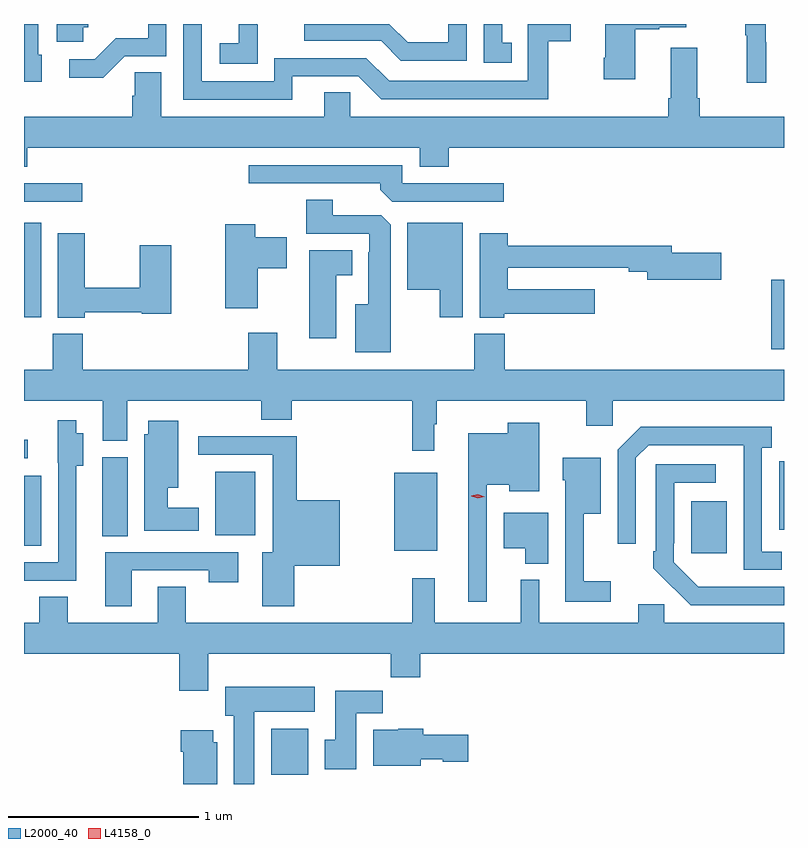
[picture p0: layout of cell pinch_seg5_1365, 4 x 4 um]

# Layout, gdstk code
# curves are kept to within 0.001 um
import gdstk
lib = gdstk.Library(unit=1e-6, precision=1e-09)
def R(c, l, rs):  # rectangles x0, y0, x1, y1
    for r in rs: c.add(gdstk.rectangle(r[:2], r[2:], *l))
def P(c, l, *ps):  # polygons
    for p in ps: c.add(gdstk.Polygon(p, *l))
L2000_40 = (2000, 40)
L4158_0 = (4158, 0)

pinch_seg5_1365 = lib.new_cell('pinch_seg5_1365')
R(pinch_seg5_1365, L2000_40, [(134.282,896.084,134.479,896.326), (136.493,897.249,136.681,897.523), (134.93,897.263,135.157,897.673), (132.982,897.288,133.072,897.657), (133.394,897.34,133.528,897.756), (133.988,897.344,134.2,897.679), (132.982,897.75,133.003,897.847), (136.916,898.323,136.982,898.69), (132.982,898.491,133.072,898.99), (132.982,899.1,133.288,899.196)])
P(pinch_seg5_1365, L2000_40, [(133.512,899.865),(133.731,899.865),(133.731,900.035),(133.635,900.035),(133.635,899.961),(133.466,899.961),(133.355,899.85),(133.221,899.85),(133.221,899.753),(133.399,899.753)],
  [(136.889,899.939),(136.887,899.939),(136.887,900.035),(136.779,900.035),(136.779,899.976),(136.786,899.976),(136.786,899.727),(136.889,899.727)],
  [(136.198,900.007),(136.325,900.007),(136.325,900.017),(136.468,900.017),(136.468,900.035),(136.04,900.035),(136.04,899.857),(136.033,899.857),(136.033,899.745),(136.198,899.745)],
  [(135.312,900.035),(135.216,900.035),(135.216,899.938),(135.002,899.938),(134.905,900.035),(134.458,900.035),(134.458,899.946),(134.861,899.946),(134.966,899.841),(135.312,899.841)],
  [(134.395,899.76),(134.742,899.76),(134.862,899.64),(135.742,899.64),(135.742,899.943),(135.86,899.943),(135.86,900.035),(135.633,900.035),(135.633,899.736),(134.904,899.736),(134.784,899.856),(134.298,899.856),(134.298,899.733),(133.917,899.733),(133.917,900.035),(133.821,900.035),(133.821,899.637),(134.395,899.637)],
  [(133.075,899.874),(133.056,899.874),(133.056,900.035),(132.982,900.035),(132.982,899.73),(133.075,899.73)],
  [(133.293,900.018),(133.32,900.018),(133.32,900.035),(133.154,900.035),(133.154,899.942),(133.293,899.942)],
  [(134.211,900.031),(134.21,900.031),(134.21,900.035),(134.111,900.035),(134.111,899.935),(134.013,899.935),(134.013,899.825),(134.211,899.825)],
  [(135.548,899.937),(135.499,899.937),(135.499,900.035),(135.402,900.035),(135.402,899.832),(135.548,899.832)],
  [(132.998,899.384),(135.065,899.384),(135.065,899.285),(135.218,899.285),(135.218,899.384),(136.982,899.384),(136.982,899.548),(136.538,899.548),(136.538,899.644),(136.525,899.644),(136.525,899.911),(136.385,899.911),(136.385,899.644),(136.373,899.644),(136.373,899.548),(134.7,899.548),(134.7,899.675),(134.561,899.675),(134.561,899.548),(133.705,899.548),(133.705,899.78),(133.566,899.78),(133.566,899.657),(133.553,899.657),(133.553,899.548),(132.982,899.548),(132.982,899.285),(132.998,899.285)],
  [(135.508,899.196),(134.973,899.196),(134.973,899.292),(134.166,899.292),(134.166,899.196),(134.858,899.196),(134.858,899.162),(134.919,899.1),(135.508,899.1)],
  [(134.911,898.979),(134.862,899.028),(134.608,899.028),(134.608,899.111),(134.468,899.111),(134.468,898.932),(134.799,898.932),(134.799,898.835),(134.795,898.835),(134.795,898.561),(134.726,898.561),(134.726,898.307),(134.911,898.307)],
  [(135.292,898.99),(134.999,898.99),(134.999,898.637),(135.17,898.637),(135.17,898.491),(135.292,898.491)],
  [(134.212,898.75),(134.365,898.75),(134.365,898.912),(134.2,898.912),(134.2,898.981),(134.042,898.981),(134.042,898.539),(134.212,898.539)],
  [(133.302,898.518),(133.602,898.518),(133.602,898.51),(133.756,898.51),(133.756,898.87),(133.591,898.87),(133.591,898.646),(133.302,898.646),(133.302,898.933),(133.16,898.933),(133.16,898.49),(133.302,898.49)],
  [(135.51,898.51),(135.985,898.51),(135.985,898.639),(135.527,898.639),(135.527,898.752),(136.166,898.752),(136.166,898.732),(136.262,898.732),(136.262,898.69),(136.651,898.69),(136.651,898.832),(136.39,898.832),(136.39,898.868),(135.527,898.868),(135.527,898.933),(135.38,898.933),(135.38,898.49),(135.51,898.49)],
  [(134.626,898.712),(134.71,898.712),(134.71,898.843),(134.483,898.843),(134.483,898.38),(134.626,898.38)],
  [(135.142,897.929),(135.154,897.929),(135.154,898.052),(135.941,898.052),(135.941,897.921),(136.08,897.921),(136.08,898.052),(136.982,898.052),(136.982,898.216),(135.512,898.216),(135.512,898.405),(135.352,898.405),(135.352,898.216),(134.314,898.216),(134.314,898.411),(134.162,898.411),(134.162,898.216),(133.292,898.216),(133.292,898.405),(133.132,898.405),(133.132,898.216),(132.982,898.216),(132.982,898.052),(133.397,898.052),(133.397,897.841),(133.525,897.841),(133.525,898.052),(134.23,898.052),(134.23,897.953),(134.39,897.953),(134.39,898.052),(135.025,898.052),(135.025,897.789),(135.142,897.789)],
  [(133.258,897.71),(133.294,897.71),(133.294,897.88),(133.258,897.88),(133.258,897.949),(133.16,897.949),(133.16,897.726),(133.161,897.726),(133.161,897.201),(132.982,897.201),(132.982,897.105),(133.258,897.105)],
  [(133.903,897.49),(133.738,897.49),(133.738,897.593),(133.795,897.593),(133.795,897.946),(133.637,897.946),(133.637,897.876),(133.616,897.876),(133.616,897.368),(133.903,897.368)],
  [(135.417,897.611),(135.536,897.611),(135.536,897.575),(135.694,897.575),(135.694,897.937),(135.529,897.937),(135.529,897.88),(135.32,897.88),(135.32,896.994),(135.417,896.994)],
  [(136.969,897.258),(136.866,897.258),(136.866,897.806),(136.918,897.806),(136.918,897.916),(136.228,897.916),(136.107,897.795),(136.107,897.3),(136.203,897.3),(136.203,897.753),(136.269,897.819),(136.769,897.819),(136.77,897.162),(136.969,897.162)],
  [(134.404,897.185),(134.644,897.185),(134.644,897.529),(134.417,897.529),(134.417,897.866),(133.899,897.866),(133.899,897.768),(134.291,897.768),(134.291,897.256),(134.237,897.256),(134.237,896.97),(134.404,896.97)],
  [(136.069,897.103),(135.929,897.103),(135.929,897.458),(136.018,897.458),(136.018,897.751),(135.818,897.751),(135.818,897.633),(135.831,897.633),(135.831,896.994),(136.069,896.994)],
  [(136.982,897.735),(136.957,897.735),(136.957,897.626),(136.956,897.626),(136.956,897.372),(136.982,897.372)],
  [(136.982,897.072),(136.53,897.073),(136.401,897.201),(136.401,897.301),(136.404,897.301),(136.404,897.621),(136.624,897.621),(136.624,897.717),(136.308,897.717),(136.308,897.259),(136.293,897.259),(136.293,897.171),(136.49,896.976),(136.982,896.976)],
  [(135.742,897.463),(135.506,897.463),(135.506,897.275),(135.62,897.275),(135.62,897.194),(135.742,897.194)],
  [(133.549,897.159),(133.954,897.159),(133.954,897.096),(134.11,897.096),(134.11,897.255),(133.409,897.255),(133.409,896.97),(133.549,896.97)],
  [(133.951,896.72),(134.911,896.72),(134.911,896.596),(135.068,896.596),(135.068,896.72),(136.982,896.72),(136.982,896.884),(136.353,896.884),(136.353,896.982),(136.214,896.982),(136.214,896.884),(135.694,896.884),(135.694,897.109),(135.596,897.109),(135.596,896.884),(135.143,896.884),(135.143,897.118),(135.025,897.118),(135.025,896.884),(133.833,896.884),(133.833,897.074),(133.685,897.074),(133.685,896.884),(133.213,896.884),(133.213,897.02),(133.061,897.02),(133.061,896.884),(132.982,896.884),(132.982,896.72),(133.799,896.72),(133.799,896.526),(133.951,896.526)],
  [(134.194,896.414),(134.512,896.414),(134.512,896.548),(134.042,896.548),(134.042,896.394),(134.087,896.394),(134.087,896.035),(134.194,896.035)],
  [(134.731,896.408),(134.87,896.408),(134.87,896.527),(134.621,896.527),(134.621,896.268),(134.564,896.268),(134.564,896.112),(134.731,896.112)],
  [(135.07,896.165),(135.186,896.165),(135.186,896.153),(135.319,896.153),(135.319,896.295),(135.083,896.295),(135.083,896.326),(134.952,896.326),(134.952,896.32),(134.819,896.32),(134.819,896.132),(135.07,896.132)],
  [(133.999,896.256),(133.978,896.256),(133.978,896.317),(133.808,896.317),(133.808,896.204),(133.82,896.204),(133.82,896.035),(133.999,896.035)])
P(pinch_seg5_1365, L4158_0, [(135.37,897.539),(135.335,897.55),(135.335,897.551),(135.335,897.551),(135.371,897.559),(135.406,897.548),(135.407,897.548),(135.406,897.548)])

lib.write_gds('pinch_seg5_1365.gds')
